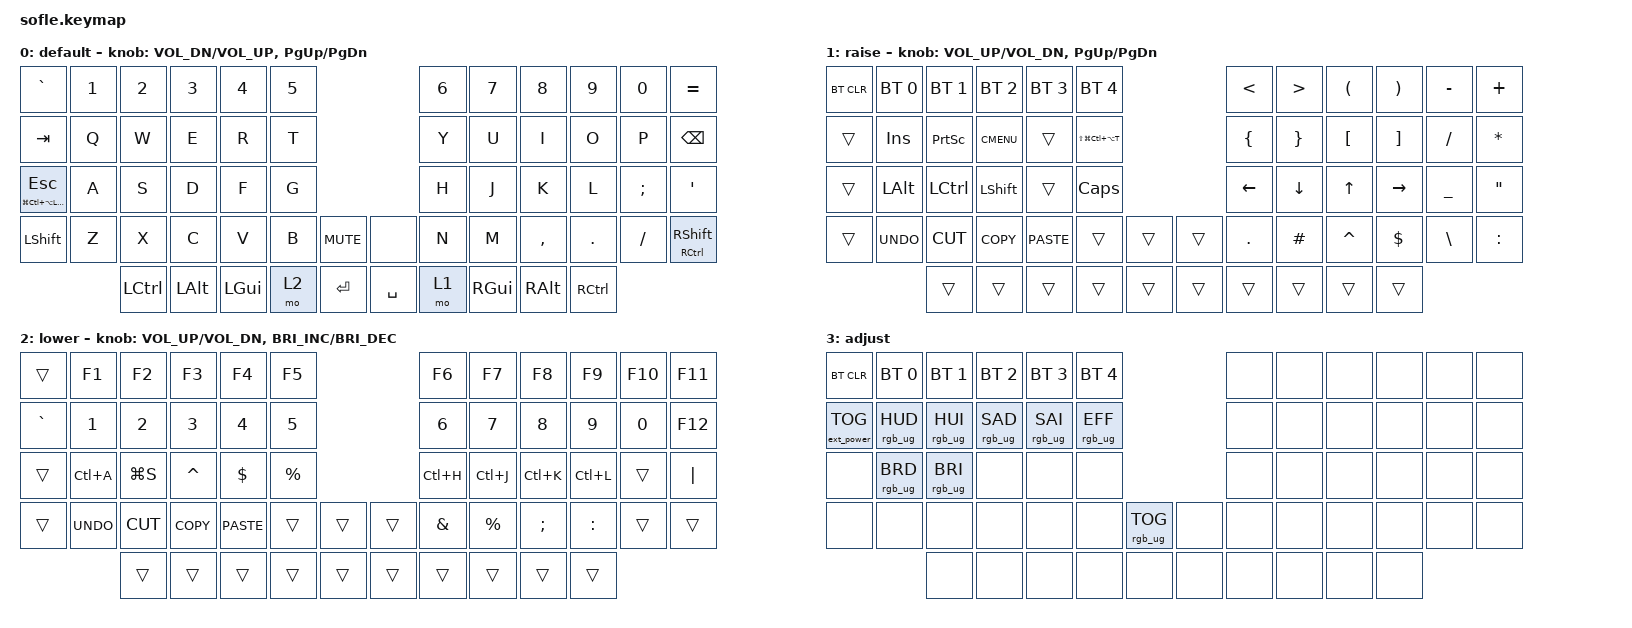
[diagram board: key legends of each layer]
/*
 * Copyright (c) 2020 The ZMK Contributors
 *
 * SPDX-License-Identifier: MIT
 */

#include <behaviors.dtsi>
#include <dt-bindings/zmk/bt.h>
#include <dt-bindings/zmk/ext_power.h>
#include <dt-bindings/zmk/keys.h>
#include <dt-bindings/zmk/rgb.h>

#define BASE 0
#define LOWER 1
#define RAISE 2
#define ADJUST 3

/ {
    // Activate ADJUST layer by pressing raise and lower

    conditional_layers {
        compatible = "zmk,conditional-layers";

        adjust_layer {
            if-layers = <2 1>;
            then-layer = <3>;
        };
    };

    keymap {
        compatible = "zmk,keymap";

        default_layer {
            label = "default";

            // ------------------------------------------------------------------------------------------------------------
            // |   `   |  1  |  2  |  3   |  4   |  5   |                   |  6   |  7    |  8    |  9   |   0   |       |
            // |  ESC  |  Q  |  W  |  E   |  R   |  T   |                   |  Y   |  U    |  I    |  O   |   P   | BKSPC |
            // |  TAB  |  A  |  S  |  D   |  F   |  G   |                   |  H   |  J    |  K    |  L   |   ;   |   '   |
            // | SHIFT |  Z  |  X  |  C   |  V   |  B   |  MUTE  |  |       |  N   |  M    |  ,    |  .   |   /   | SHIFT |
            //               | GUI | ALT  | CTRL | LOWER|  ENTER |  | SPACE | RAISE| CTRL  | ALT   | GUI  |

            bindings = <
&kp GRAVE                          &kp N1  &kp N2     &kp N3    &kp N4    &kp N5                           &kp N6  &kp N7    &kp N8     &kp N9     &kp N0    &kp EQUAL
&kp TAB                            &kp Q   &kp W      &kp E     &kp R     &kp T                            &kp Y   &kp U     &kp I      &kp O      &kp P     &kp BSPC
&mt LG(LC(LA(LEFT_SHIFT))) ESCAPE  &kp A   &kp S      &kp D     &kp F     &kp G                            &kp H   &kp J     &kp K      &kp L      &kp SEMI  &kp SQT
&kp LSHFT                          &kp Z   &kp X      &kp C     &kp V     &kp B   &kp C_MUTE    &none      &kp N   &kp M     &kp COMMA  &kp DOT    &kp FSLH  &mt RCTRL RSHFT
                                           &kp LCTRL  &kp LALT  &kp LGUI  &mo 2   &kp RET       &kp SPACE  &mo 1   &kp RGUI  &kp RALT   &kp RCTRL
            >;

            sensor-bindings =
                <&inc_dec_kp C_VOL_DN C_VOL_UP>,
                <&inc_dec_kp PG_UP PG_DN>;
        };

        raise_layer {
            label = "raise";

            // ------------------------------------------------------------------------------------------------------------
            // | BTCLR | BT1  | BT2  |  BT3  |  BT4  |  BT5 |                |      |      |       |      |       |       |
            // |       | INS  | PSCR | GUI   |       |      |                | PGUP |      |   ^   |      |       |       |
            // |       | ALT  | CTRL | SHIFT |       | CAPS |                | PGDN |   <- |   v   |  ->  |  DEL  | BKSPC |
            // |       | UNDO | CUT  | COPY  | PASTE |      |      |  |      |      |      |       |      |       |       |
            //                |      |       |       |      |      |  |      |      |      |       |      |

            bindings = <
&bt BT_CLR  &bt BT_SEL 0  &bt BT_SEL 1  &bt BT_SEL 2  &bt BT_SEL 3  &bt BT_SEL 4                             &kp LESS_THAN   &kp GREATER_THAN  &kp LEFT_PARENTHESIS  &kp RIGHT_PARENTHESIS  &kp MINUS       &kp PLUS
&trans      &kp INS       &kp PSCRN     &kp K_CMENU   &trans        &kp LS(LG(LC(LA(T))))                    &kp LEFT_BRACE  &kp RIGHT_BRACE   &kp LEFT_BRACKET      &kp RIGHT_BRACKET      &kp SLASH       &kp ASTERISK
&trans      &kp LEFT_ALT  &kp LCTRL     &kp LSHFT     &trans        &kp CLCK                                 &kp LEFT        &kp DOWN          &kp UP                &kp RIGHT              &kp UNDERSCORE  &kp DOUBLE_QUOTES
&trans      &kp K_UNDO    &kp K_CUT     &kp K_COPY    &kp K_PASTE   &trans                 &trans    &trans  &kp DOT         &kp HASH          &kp CARET             &kp DOLLAR             &kp BACKSLASH   &kp COLON
                          &trans        &trans        &trans        &trans                 &trans    &trans  &trans          &trans            &trans                &trans
            >;

            sensor-bindings = <&inc_dec_kp C_VOL_UP C_VOL_DN &inc_dec_kp PG_UP PG_DN>;
        };

        lower_layer {
            label = "lower";

            // TODO: Some binds are waiting for shifted keycode support.
            // ------------------------------------------------------------------------------------------------------------
            // |       |  F1 |  F2 |  F3  |  F4  |  F5  |                   |  F6  |  F7   |  F8   |  F9  |  F10  |  F11  |
            // |   `   |  1  |  2  |  3   |  4   |  5   |                   |  6   |  7    |  8    |  9   |   0   |  F12  |
            // |       |  !  |  @  |  #   |  $   |  %   |                   |  ^   |  &    |  *    |  (   |   )   |   |   |
            // |       |  =  |  -  |  +   |  {   |  }   |        |  |       |  [   |  ]    |  ;    |  :   |   \   |       |
            //               |     |      |      |      |        |  |       |      |       |       |      |

            bindings = <
&trans     &kp F1      &kp F2     &kp F3      &kp F4       &kp F5                       &kp F6         &kp F7       &kp F8     &kp F9     &kp F10  &kp F11
&kp GRAVE  &kp N1      &kp N2     &kp N3      &kp N4       &kp N5                       &kp N6         &kp N7       &kp N8     &kp N9     &kp N0   &kp F12
&trans     &kp LC(A)   &kp LG(S)  &kp CARET   &kp DLLR     &kp PRCNT                    &kp LC(H)      &kp LC(J)    &kp LC(K)  &kp LC(L)  &trans   &kp PIPE
&trans     &kp K_UNDO  &kp K_CUT  &kp K_COPY  &kp K_PASTE  &trans     &trans    &trans  &kp AMPERSAND  &kp PERCENT  &kp SEMI   &kp COLON  &trans   &trans
                       &trans     &trans      &trans       &trans     &trans    &trans  &trans         &trans       &trans     &trans
            >;

            sensor-bindings =
                <&inc_dec_kp C_VOL_UP C_VOL_DN>,
                <&inc_dec_kp C_BRIGHTNESS_INC C_BRIGHTNESS_DEC>;
        };

        adjust_layer {
            // ----------------------------------------------------------------------------------------------------------------------------
            // | BTCLR  |  BT1    |  BT2    |   BT3   |   BT4   |   BT5   |                  |      |      |       |      |       |       |
            // | EXTPWR | RGB_HUD | RGB_HUI | RGB_SAD | RGB_SAI | RGB_EFF |                  |      |      |       |      |       |       |
            // |        | RGB_BRD | RGB_BRI |         |         |         |                  |      |      |       |      |       |       |
            // |        |         |         |         |         |         | RGB_TOG | |      |      |      |       |      |       |       |
            //                    |         |         |         |         |         | |      |      |      |       |      |

            label = "adjust";
            bindings = <
&bt BT_CLR         &bt BT_SEL 0     &bt BT_SEL 1     &bt BT_SEL 2     &bt BT_SEL 3     &bt BT_SEL 4                               &none  &none  &none  &none  &none  &none
&ext_power EP_TOG  &rgb_ug RGB_HUD  &rgb_ug RGB_HUI  &rgb_ug RGB_SAD  &rgb_ug RGB_SAI  &rgb_ug RGB_EFF                            &none  &none  &none  &none  &none  &none
&none              &rgb_ug RGB_BRD  &rgb_ug RGB_BRI  &none            &none            &none                                      &none  &none  &none  &none  &none  &none
&none              &none            &none            &none            &none            &none            &rgb_ug RGB_TOG    &none  &none  &none  &none  &none  &none  &none
                                    &none            &none            &none            &none            &none              &none  &none  &none  &none  &none
            >;
        };
    };
};
